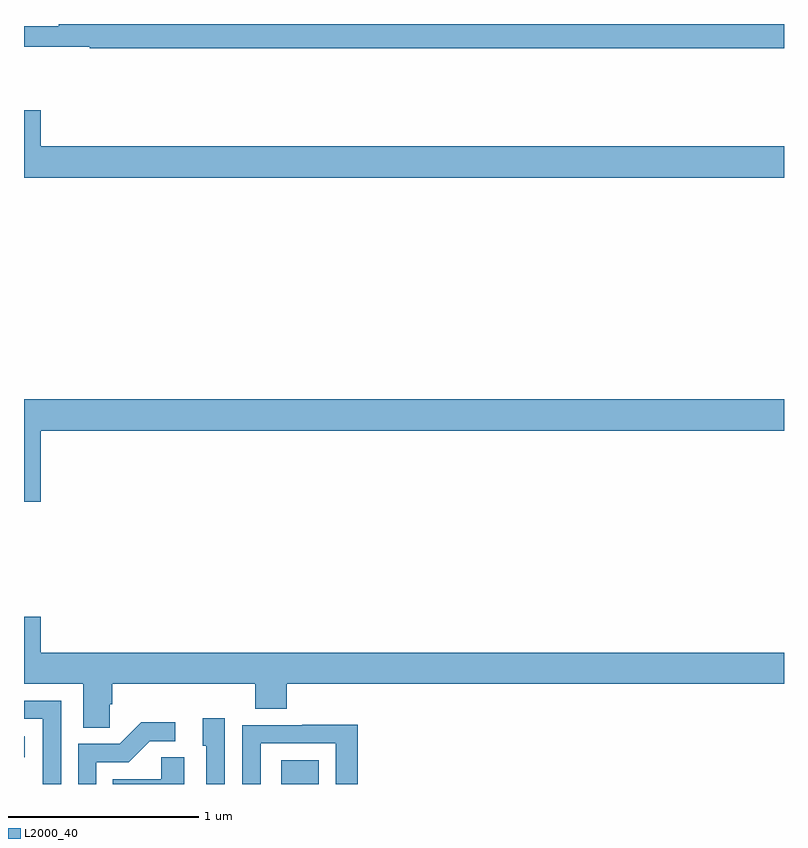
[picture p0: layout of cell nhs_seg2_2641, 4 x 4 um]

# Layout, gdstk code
import gdstk
lib = gdstk.Library(unit=1e-6, precision=1e-09)
def R(c, l, rs):  # rectangles x0, y0, x1, y1
    for r in rs: c.add(gdstk.rectangle(r[:2], r[2:], *l))
def P(c, l, *ps):  # polygons
    for p in ps: c.add(gdstk.Polygon(p, *l))
L2000_40 = (2000, 40)

nhs_seg2_2641 = lib.new_cell('nhs_seg2_2641')
R(nhs_seg2_2641, L2000_40, [(250.355,621.8,250.552,621.925), (249,621.941,249.004,622.051)])
P(nhs_seg2_2641, L2000_40, [(253,625.8),(249.184,625.8),(249.184,625.789),(249,625.789),(249,625.68),(249.345,625.68),(249.345,625.672),(253,625.672)],
  [(253,625.156),(249.088,625.156),(249.088,625.345),(249,625.345),(249,624.992),(253,624.992)],
  [(249.088,623.66),(253,623.66),(253,623.824),(249,623.824),(249,623.286),(249.088,623.286)],
  [(249.45,622.219),(249.464,622.219),(249.464,622.328),(250.217,622.328),(250.217,622.195),(250.382,622.195),(250.382,622.328),(253,622.328),(253,622.492),(249.088,622.492),(249.088,622.681),(249,622.681),(249,622.328),(249.311,622.328),(249.311,622.096),(249.45,622.096)],
  [(249.195,622.239),(249,622.239),(249,622.143),(249.099,622.143),(249.099,621.8),(249.195,621.8)],
  [(250.056,622.147),(249.941,622.147),(249.941,622.002),(249.96,622.002),(249.96,621.8),(250.056,621.8)],
  [(249.381,621.915),(249.55,621.915),(249.661,622.026),(249.796,622.026),(249.796,622.124),(249.617,622.124),(249.504,622.011),(249.285,622.011),(249.285,621.8),(249.381,621.8)],
  [(250.245,622.014),(250.641,622.014),(250.641,621.8),(250.757,621.8),(250.757,622.112),(250.465,622.112),(250.465,622.11),(250.149,622.11),(250.149,621.8),(250.245,621.8)],
  [(249.844,621.941),(249.723,621.941),(249.723,621.826),(249.466,621.826),(249.466,621.8),(249.844,621.8)])

lib.write_gds('nhs_seg2_2641.gds')
